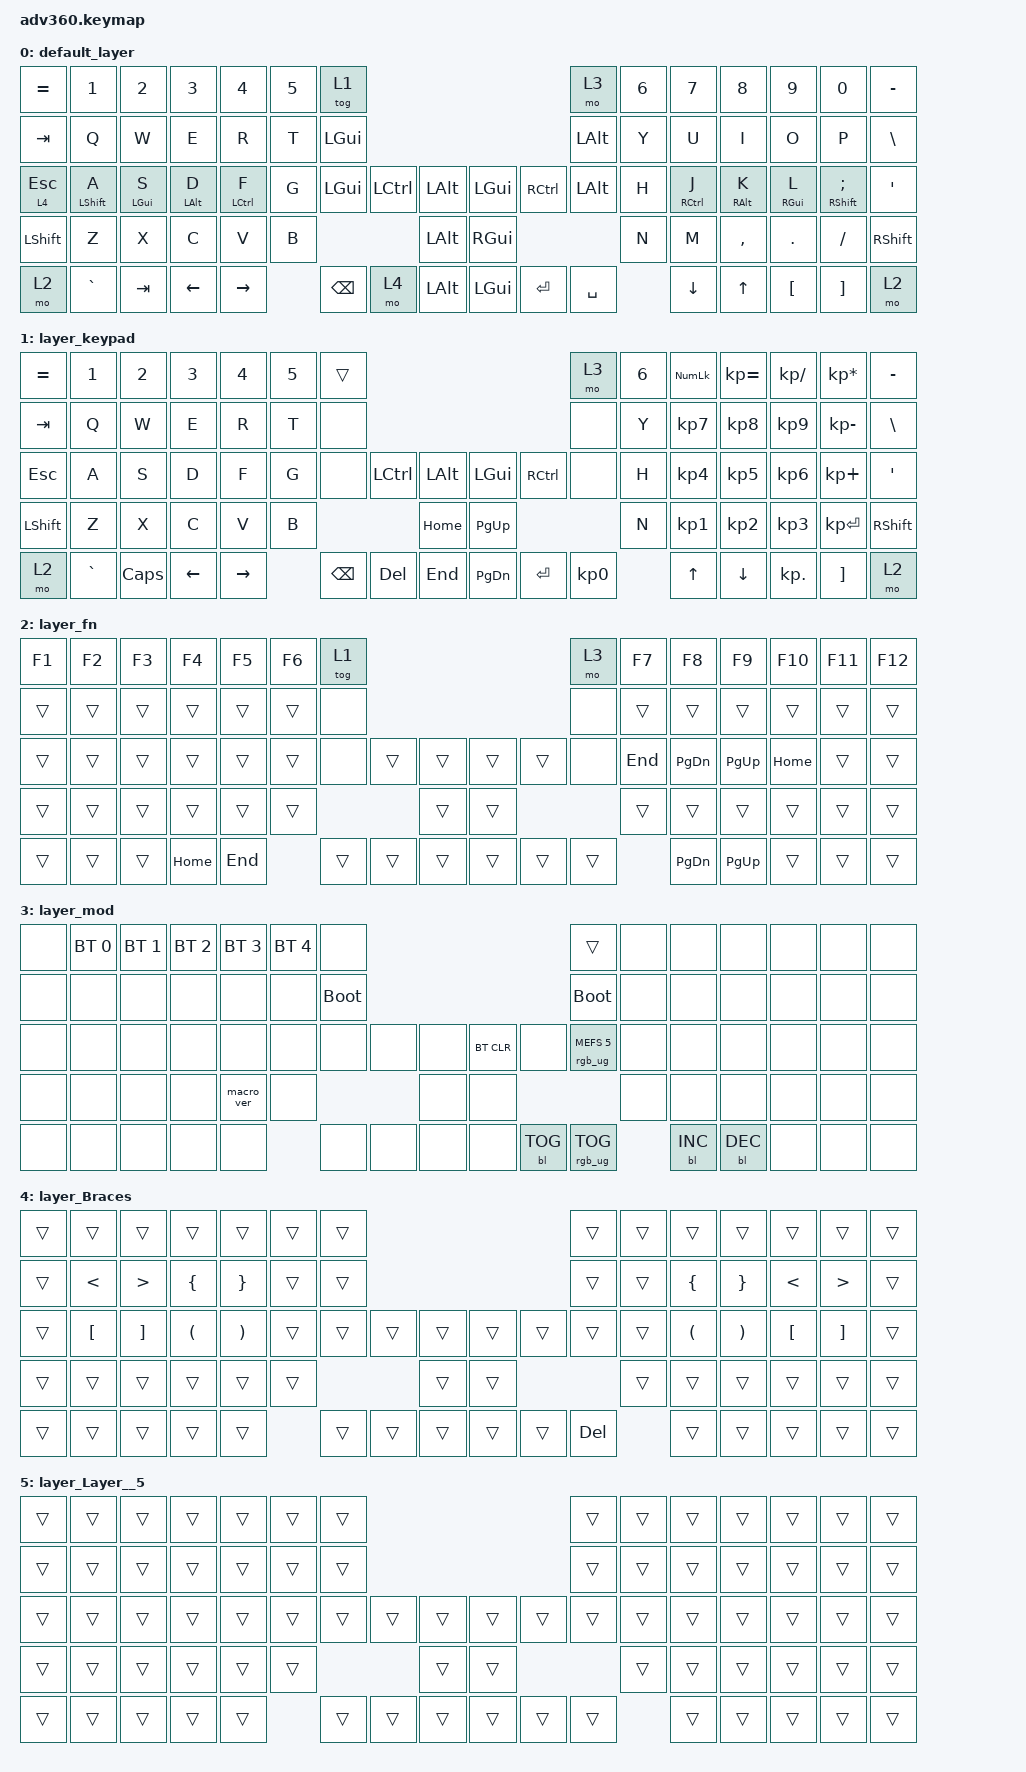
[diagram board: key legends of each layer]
/*
 * Copyright (c) 2020 The ZMK Contributors
 *
 * SPDX-License-Identifier: MIT
 */
/* THIS FILE WAS GENERATED!
 *
 * This file was generated automatically. You may or may not want to
 * edit it directly.
 */

#include <behaviors.dtsi>
#include <dt-bindings/zmk/backlight.h>
#include <dt-bindings/zmk/bt.h>
#include <dt-bindings/zmk/keys.h>
#include <dt-bindings/zmk/rgb.h>

/ {
    behaviors {
        #include "macros.dtsi"
    #include "version.dtsi"

        hml: homerow_mods {
            compatible = "zmk,behavior-hold-tap";
            label = "HOMEROW_MODS";
            #binding-cells = <2>;
            tapping-term-ms = <280>;
            quick_tap_ms = <175>;
            flavor = "balanced";
            bindings = <&kp>, <&kp>;

            quick-tap-ms = <0>;
            require-prior-idle-ms = <150>;
            hold-trigger-key-positions = <7 8 9 10 11 12 13 21 22 23 24 25 26 27 38 39 40 41 42 43 44 45 54 55 56 57 58 59 69 70 71 72 73 74 75 37 38 53 68 69 70 71 35 36 52 65 66 67>;
            hold-trigger-on-release;
        };

        hmr: hmr {
            compatible = "zmk,behavior-hold-tap";
            label = "HMR";
            bindings = <&kp>, <&kp>;

            #binding-cells = <2>;
            tapping-term-ms = <280>;
            quick-tap-ms = <175>;
            require-prior-idle-ms = <150>;
            flavor = "balanced";
            hold-trigger-on-release;
            hold-trigger-key-positions = <0 1 2 3 4 5 6 14 15 16 17 18 19 20 28 29 30 31 32 33 34 35 36 46 47 48 49 50 51 52 60 61 62 63 64 65 66 67 37 38 53 68 69 70>;
        };
    };

    keymap {
        compatible = "zmk,keymap";

        default_layer {
            bindings = <
&kp EQUAL  &kp N1             &kp N2           &kp N3           &kp N4        &kp N5  &tog 1                                                                        &mo 3         &kp N6  &kp N7                &kp N8            &kp N9            &kp N0                      &kp MINUS
&kp TAB    &kp Q              &kp W            &kp E            &kp R         &kp T   &kp LGUI                                                                      &kp LEFT_ALT  &kp Y   &kp U                 &kp I             &kp O             &kp P                       &kp BSLH
&lt 4 ESC  &hml LEFT_SHIFT A  &hml LEFT_GUI S  &hml LEFT_ALT D  &hml LCTRL F  &kp G   &kp LEFT_GUI   &kp LCTRL  &kp LEFT_ALT      &kp LEFT_GUI   &kp RIGHT_CONTROL  &kp LEFT_ALT  &kp H   &hmr RIGHT_CONTROL J  &hmr RIGHT_ALT K  &hmr RIGHT_GUI L  &hmr RIGHT_SHIFT SEMICOLON  &kp SQT
&kp LSHFT  &kp Z              &kp X            &kp C            &kp V         &kp B                             &kp LEFT_ALT      &kp RIGHT_GUI                                   &kp N   &kp M                 &kp COMMA         &kp DOT           &kp FSLH                    &kp RSHFT
&mo 2      &kp GRAVE          &kp TAB          &kp LEFT         &kp RIGHT             &kp BACKSPACE  &mo 4      &kp LALT          &kp LGUI       &kp ENTER          &kp SPACE             &kp DOWN              &kp UP            &kp LBKT          &kp RBKT                    &mo 2
            >;
        };

        layer_keypad {
            bindings = <
&kp EQUAL  &kp N1     &kp N2    &kp N3    &kp N4     &kp N5  &trans                                                   &mo 3      &kp N6  &kp KP_NUM  &kp KP_EQUAL  &kp KP_DIVIDE  &kp KP_MULTIPLY  &kp MINUS
&kp TAB    &kp Q      &kp W     &kp E     &kp R      &kp T   &none                                                    &none      &kp Y   &kp KP_N7   &kp KP_N8     &kp KP_N9      &kp KP_MINUS     &kp BSLH
&kp ESC    &kp A      &kp S     &kp D     &kp F      &kp G   &none     &kp LCTRL  &kp LALT      &kp LGUI   &kp RCTRL  &none      &kp H   &kp KP_N4   &kp KP_N5     &kp KP_N6      &kp KP_PLUS      &kp SQT
&kp LSHFT  &kp Z      &kp X     &kp C     &kp V      &kp B                        &kp HOME      &kp PG_UP                        &kp N   &kp KP_N1   &kp KP_N2     &kp KP_N3      &kp KP_ENTER     &kp RSHFT
&mo 2      &kp GRAVE  &kp CAPS  &kp LEFT  &kp RIGHT          &kp BSPC  &kp DEL    &kp END       &kp PG_DN  &kp ENTER  &kp KP_N0          &kp UP      &kp DOWN      &kp KP_DOT     &kp RBKT         &mo 2
            >;
        };

        layer_fn {
            bindings = <
&kp F1  &kp F2  &kp F3  &kp F4    &kp F5   &kp F6  &tog 1                                      &mo 3   &kp F7   &kp F8     &kp F9     &kp F10   &kp F11  &kp F12
&trans  &trans  &trans  &trans    &trans   &trans  &none                                       &none   &trans   &trans     &trans     &trans    &trans   &trans
&trans  &trans  &trans  &trans    &trans   &trans  &none   &trans  &trans      &trans  &trans  &none   &kp END  &kp PG_DN  &kp PG_UP  &kp HOME  &trans   &trans
&trans  &trans  &trans  &trans    &trans   &trans                  &trans      &trans                  &trans   &trans     &trans     &trans    &trans   &trans
&trans  &trans  &trans  &kp HOME  &kp END          &trans  &trans  &trans      &trans  &trans  &trans           &kp PG_DN  &kp PG_UP  &trans    &trans   &trans
            >;
        };

        layer_mod {
            bindings = <
&none  &bt BT_SEL 0  &bt BT_SEL 1  &bt BT_SEL 2  &bt BT_SEL 3  &bt BT_SEL 4  &none                                                  &trans                  &none  &none       &none       &none  &none  &none
&none  &none         &none         &none         &none         &none         &bootloader                                            &bootloader             &none  &none       &none       &none  &none  &none
&none  &none         &none         &none         &none         &none         &none        &none  &none      &bt BT_CLR  &none       &rgb_ug RGB_MEFS_CMD 5  &none  &none       &none       &none  &none  &none
&none  &none         &none         &none         &macro_ver    &none                             &none      &none                                           &none  &none       &none       &none  &none  &none
&none  &none         &none         &none         &none                       &none        &none  &none      &none       &bl BL_TOG  &rgb_ug RGB_TOG                &bl BL_INC  &bl BL_DEC  &none  &none  &none
            >;
        };

        layer_Braces {
            bindings = <
&trans  &trans            &trans             &trans                &trans                 &trans  &trans                                      &trans      &trans  &trans                &trans                 &trans            &trans             &trans
&trans  &kp LESS_THAN     &kp GREATER_THAN   &kp LEFT_BRACE        &kp RIGHT_BRACE        &trans  &trans                                      &trans      &trans  &kp LEFT_BRACE        &kp RIGHT_BRACE        &kp LESS_THAN     &kp GREATER_THAN   &trans
&trans  &kp LEFT_BRACKET  &kp RIGHT_BRACKET  &kp LEFT_PARENTHESIS  &kp RIGHT_PARENTHESIS  &trans  &trans  &trans  &trans      &trans  &trans  &trans      &trans  &kp LEFT_PARENTHESIS  &kp RIGHT_PARENTHESIS  &kp LEFT_BRACKET  &kp RIGHT_BRACKET  &trans
&trans  &trans            &trans             &trans                &trans                 &trans                  &trans      &trans                      &trans  &trans                &trans                 &trans            &trans             &trans
&trans  &trans            &trans             &trans                &trans                         &trans  &trans  &trans      &trans  &trans  &kp DELETE          &trans                &trans                 &trans            &trans             &trans
            >;
        };

        layer_Layer__5 {
            bindings = <
&trans  &trans  &trans  &trans  &trans  &trans  &trans                                      &trans  &trans  &trans  &trans  &trans  &trans  &trans
&trans  &trans  &trans  &trans  &trans  &trans  &trans                                      &trans  &trans  &trans  &trans  &trans  &trans  &trans
&trans  &trans  &trans  &trans  &trans  &trans  &trans  &trans  &trans      &trans  &trans  &trans  &trans  &trans  &trans  &trans  &trans  &trans
&trans  &trans  &trans  &trans  &trans  &trans                  &trans      &trans                  &trans  &trans  &trans  &trans  &trans  &trans
&trans  &trans  &trans  &trans  &trans          &trans  &trans  &trans      &trans  &trans  &trans          &trans  &trans  &trans  &trans  &trans
            >;
        };
    };
};
